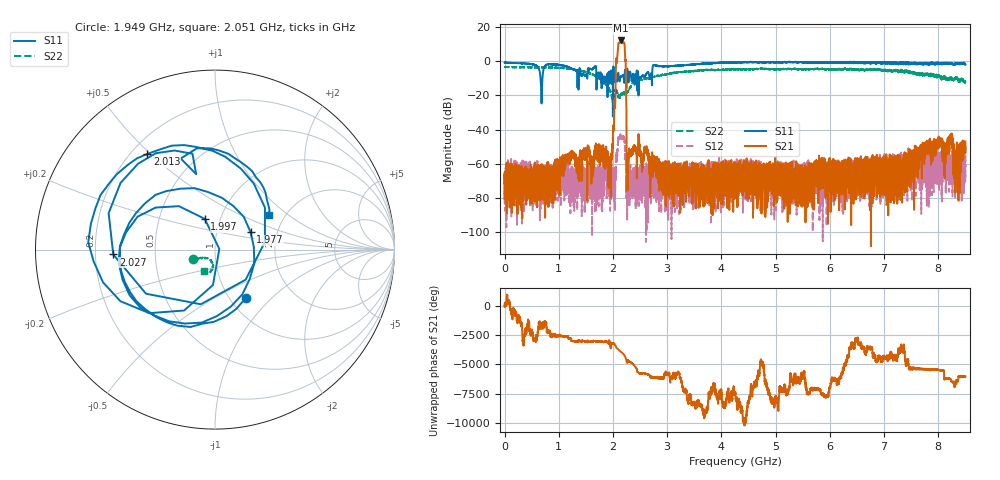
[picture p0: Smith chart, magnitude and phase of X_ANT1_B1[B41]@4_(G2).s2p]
#  HZ  S  RI  R  50.00
! Rohde & Schwarz Vector Network Analyzer
! Rohde-Schwarz,ZNBT8-20Port,1318700624101681,3.50
! Created: UTC 7/15/2025, 2:11:33 PM
! freq[Hz]  re:S1010  im:S1010  re:S0410  im:S0410  re:S1004  im:S1004  re:S44  im:S44
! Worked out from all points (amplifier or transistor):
!   8500 points, 1 MHz to 8.5 GHz, reference 50 ohm
!   highest |S21| = 12.1 dB at 2.144 GHz (marker M1)
!   |S21| within 3 dB of that: 2.095 GHz to 2.215 GHz (120.1 MHz wide, 5.57 % of centre)
!   unconditionally stable (mu >= 1): start of sweep to end of sweep
!   at 1.417 GHz: K = 319386.38, MAG = -54.0 dB, |S12| = -64.2 dB
!   at 4.251 GHz: K = 549397.40, MAG = -59.2 dB, |S12| = -72.1 dB
!   at 8.5 GHz: K = 39905.18, MAG = -42.3 dB, |S12| = -60.4 dB
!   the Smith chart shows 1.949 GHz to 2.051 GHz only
!   S11 on the Smith chart (normalised r, x): 1.949 GHz: 1.18, -0.71; 1.977 GHz: 1.46, +0.30; 1.997 GHz: 0.84, +0.30; 2.013 GHz: 0.26, +0.49; 2.027 GHz: 0.28, -0.02; 2.051 GHz: 1.66, +0.72
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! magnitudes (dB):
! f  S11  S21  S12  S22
! 1 MHz  -0.8  -66.5  -77.1  -3.4
! 81 MHz  -0.9  -68.0  -68.4  -3.5
! 1.418 GHz  -8.5  -57.2  -67.0  -5.7
! 1.709 GHz  -7.0  -50.5  -66.4  -9.4
! 1.949 GHz  -9.9  -57.8  -63.0  -17.5
! 1.977 GHz  -13.1  -55.2  -75.3  -20.8
! 1.997 GHz  -14.9  -47.5  -70.6  -23.8
! 2.013 GHz  -3.7  -39.0  -69.9  -22.3
! 2.027 GHz  -4.9  -22.9  -73.0  -19.1
! 2.051 GHz  -9.0  -9.1  -59.7  -17.6
! 2.093 GHz  -7.2  8.4  -47.3  -20.6
! 2.144 GHz  -8.9  12.1  -44.4  -19.9
! 2.205 GHz  -12.1  10.6  -45.2  -18.6
! 2.292 GHz  -11.1  -52.4  -62.3  -16.6
! 2.453 GHz  -6.6  -53.8  -71.0  -11.0
! 2.834 GHz  -2.7  -58.2  -70.8  -8.6
! 4.251 GHz  -0.6  -69.7  -72.1  -4.8
! 5.667 GHz  -0.4  -66.8  -70.6  -4.4
! 7.084 GHz  -0.9  -60.3  -60.4  -5.3
! 8.229 GHz  -1.4  -43.9  -63.5  -10.2
! 8.328 GHz  -1.6  -52.4  -53.0  -9.5
! 8.5 GHz  -2.0  -47.0  -60.4  -12.0
